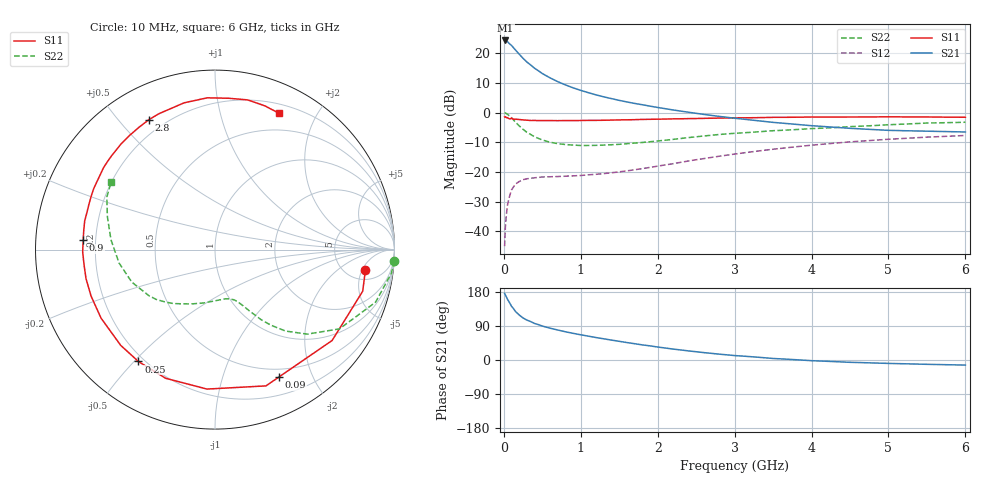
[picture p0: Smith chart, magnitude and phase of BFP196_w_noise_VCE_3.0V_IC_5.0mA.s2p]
! Infineon Technologies  Discrete & RF Semiconductors
! BFP196
! VCE =  3.0 V,  IC =  5.0 mA
! Common Emitter S-Parameters:  Jan 2017
# GHz  S  MA  R  50
!  f  S11  S21  S12  S22
! GHz  MAG  ANG  MAG  ANG  MAG  ANG  MAG  ANG
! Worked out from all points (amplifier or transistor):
!   77 points, 10 MHz to 6 GHz, reference 50 ohm
!   highest |S21| = 24.4 dB at 20 MHz (marker M1)
!   |S21| within 3 dB of that: start of sweep to 143.7 MHz
!   unconditionally stable (mu >= 1): 1.176 GHz to 2.394 GHz
!   at 130 MHz: K = 0.15, MSG = 23.3 dB, |S12| = -24.9 dB
!   at 2.2 GHz: K = 1.04, MAG = 7.8 dB, |S12| = -17.2 dB
!   at 6 GHz: K = 0.96, MSG = 0.6 dB, |S12| = -7.7 dB
!   lowest NFmin = 1.01 dB at 450 MHz
!   S11 on the Smith chart (normalised r, x): 10 MHz: 7.15, -5.84; 90 MHz: 0.40, -1.55; 250 MHz: 0.18, -0.51; 900 MHz: 0.15, +0.03; 2.8 GHz: 0.14, +0.60; 6 GHz: 0.30, +1.54
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0.01  0.8459 -7.9  16.51 175.8  0.0056 84.6  1 -3.7
0.02  0.855 -15.7  16.57 171.6  0.0118 83.0  0.9911 -7.7
0.05  0.826 -37.8  15.71 159.1  0.0288 70.1  0.9415 -18.1
0.09  0.7939 -63.2  13.98 145.6  0.0455 58.4  0.8414 -29.3
0.1  0.8107 -69.5  13.69 141.7  0.0499 56.7  0.8222 -32.5
0.15  0.7783 -93.3  11.49 128.4  0.0623 45.2  0.6973 -42.5
0.2  0.7679 -111.0  9.698 118.7  0.0691 38.8  0.6003 -49.1
0.25  0.7554 -124.4  8.279 110.9  0.0742 33.4  0.524 -53.5
0.3  0.7487 -134.6  7.16 105.3  0.0768 30.1  0.4667 -56.7
0.4  0.7408 -149.0  5.624 96.3  0.0798 26.7  0.3915 -60.7
0.5  0.7374 -159.4  4.584 89.6  0.0823 25.0  0.3463 -63.7
0.6  0.7367 -167.2  3.878 84.0  0.083 24.9  0.3182 -66.4
0.7  0.7345 -173.4  3.347 79.2  0.0838 25.4  0.3005 -68.9
0.9  0.7361 176.0  2.63 70.4  0.086 27.8  0.2842 -74.9
1.1  0.7434 167.6  2.176 62.9  0.0896 30.9  0.2804 -81.5
1.5  0.7562 153.4  1.616 49.3  0.1005 38.7  0.2929 -96.3
2.1  0.7816 134.7  1.168 31.6  0.1317 46.4  0.3437 -118.4
2.8  0.8123 116.9  0.867 15.4  0.1843 46.8  0.4293 -139.7
3.1  0.8201 110.3  0.782 10.4  0.2087 44.6  0.457 -148.2
4.1  0.8453 91.3  0.592 -2.6  0.2907 34.1  0.5459 -174.9
5.1  0.8515 76.3  0.501 -9.5  0.3624 20.7  0.6343 161.1
6  0.8391 64.7  0.473 -13.4  0.413 9.0  0.6908 146.8
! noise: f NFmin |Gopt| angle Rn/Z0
0.45  1.01  0.42  127  0.08
0.9  1.47  0.55  170  0.06
1.9  2.9  0.74  -142  0.31
2.4  3.55  0.76  -125  0.95
